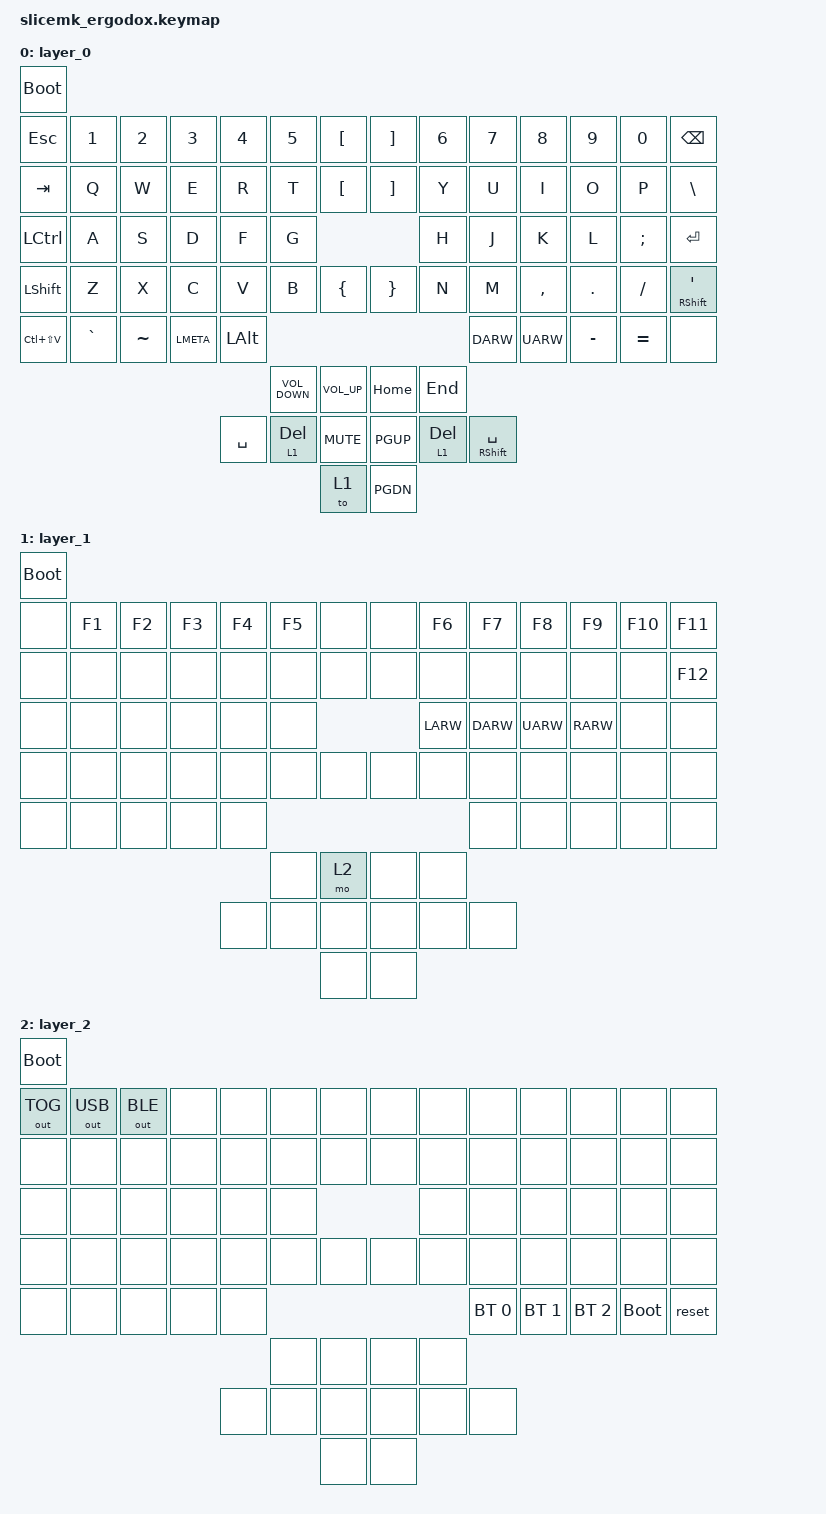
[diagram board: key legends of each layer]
#include <behaviors.dtsi>
#include <dt-bindings/zmk/bt.h>
#include <dt-bindings/zmk/keys.h>
#include <dt-bindings/zmk/outputs.h>

/ {
keymap {
	compatible = "zmk,keymap";
	layer_0 {
		bindings = <
			&bootloader
			&kp ESC       &kp NUMBER_1 &kp NUMBER_2 &kp NUMBER_3 &kp NUMBER_4 &kp NUMBER_5      &kp LEFT_BRACKET &kp RIGHT_BRACKET &kp NUMBER_6 &kp NUMBER_7   &kp NUMBER_8 &kp NUMBER_9 &kp NUMBER_0  &kp BKSP
			&kp TAB       &kp Q        &kp W        &kp E        &kp R        &kp T             &kp LEFT_BRACKET &kp RIGHT_BRACKET &kp Y        &kp U          &kp I        &kp O        &kp P         &kp BSLH
			&kp LCTRL     &kp A        &kp S        &kp D        &kp F        &kp G                                                &kp H        &kp J          &kp K        &kp L        &kp SEMICOLON &kp ENTER
			&kp LSHIFT    &kp Z        &kp X        &kp C        &kp V        &kp B             &kp LEFT_BRACE   &kp RIGHT_BRACE   &kp N        &kp M          &kp CMMA     &kp DOT      &kp FSLH      &mt RSHIFT SINGLE_QUOTE
			&kp LC(LS(V)) &kp GRAVE    &kp TILDE    &kp LMETA    &kp LALT                                                                       &kp DARW       &kp UARW     &kp MINUS    &kp EQUAL     &none
																			  &kp K_VOLUME_DOWN	&kp K_VOLUME_UP  &kp HOME		   &kp END
																 &kp SPC	  &lt 1 DEL			&kp K_MUTE		 &kp PGUP		   &lt 1 DEL	&mt RSHIFT SPC
																								&to 1			 &kp PGDN
		>;
	};
	layer_1 {
		bindings = <
			&bootloader
			&none &kp F1 &kp F2 &kp F3 &kp F4 &kp F5 &none &none &kp F6   &kp F7   &kp F8   &kp F9   &kp F10 &kp F11
			&none &none  &none  &none  &none  &none  &none &none &none    &none    &none    &none    &none   &kp F12
			&none &none  &none  &none  &none  &none              &kp LARW &kp DARW &kp UARW &kp RARW &none   &none
			&none &none  &none  &none  &none  &none  &none &none &none    &none    &none    &none    &none   &none
			&none &none  &none  &none  &none                              &none    &none    &none    &none   &none
												&none  &mo 2 &none &none
										&none  &none  &none &none &none    &none
														&none &none
		>;
	};
	layer_2 {
		bindings = <
			&bootloader
			&out OUT_TOG &out OUT_USB &out OUT_BLE &none &none &none &none &none &none &none        &none        &none        &none       &none
			&none        &none        &none        &none &none &none &none &none &none &none        &none        &none        &none       &none
			&none        &none        &none        &none &none &none             &none &none        &none        &none        &none       &none
			&none        &none        &none        &none &none &none &none &none &none &none        &none        &none        &none       &none
			&none        &none        &none        &none &none                         &bt BT_SEL 0 &bt BT_SEL 1 &bt BT_SEL 2 &bootloader &reset
																&none &none &none &none
															&none &none &none &none &none &none
																		&none &none
		>;
	};
};
};
